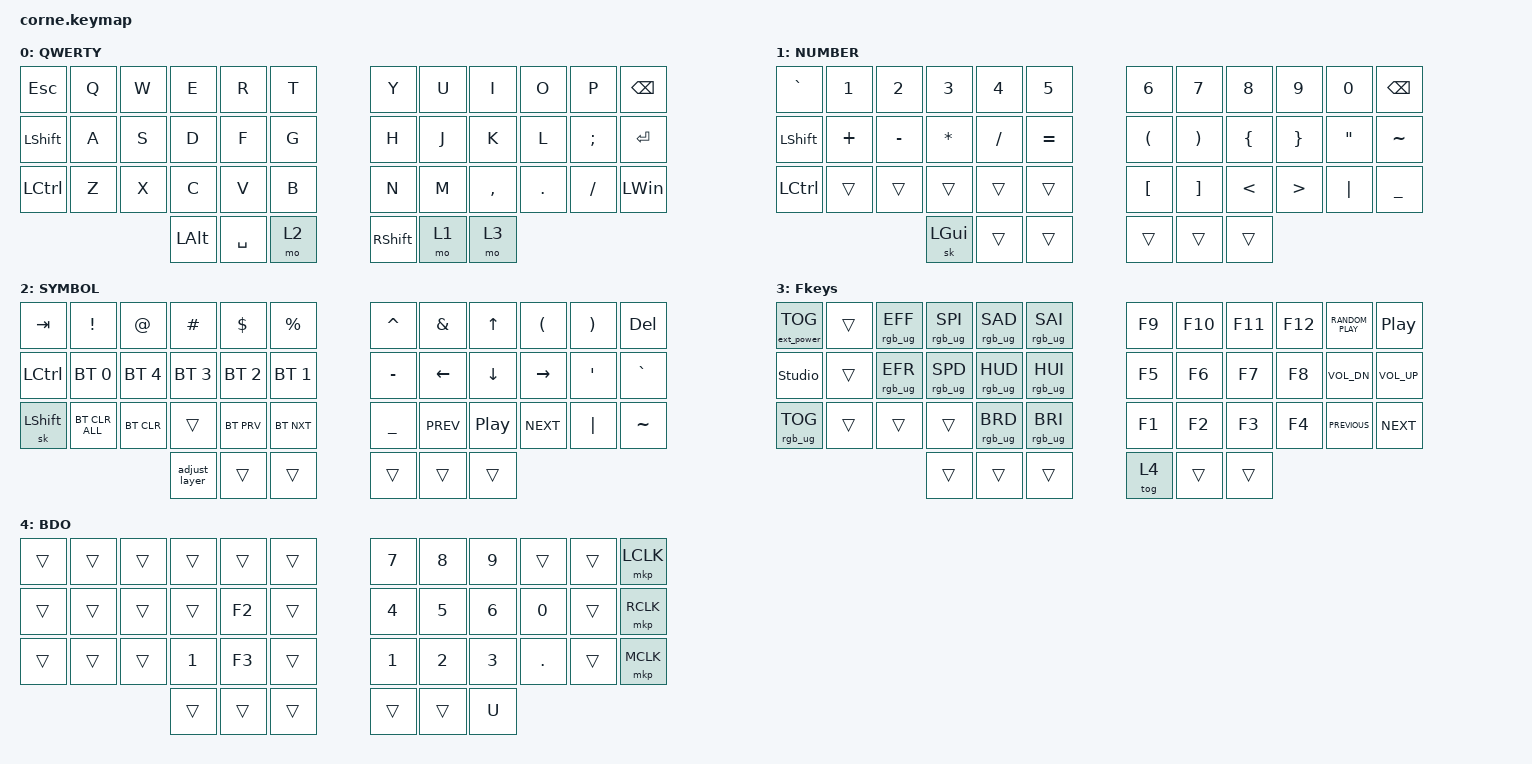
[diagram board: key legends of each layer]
#include <dt-bindings/zmk/mouse.h>
#include <behaviors.dtsi>
#include <dt-bindings/zmk/bt.h>
#include <dt-bindings/zmk/ext_power.h>
#include <dt-bindings/zmk/keys.h>
#include <dt-bindings/zmk/pointing.h>
#include <dt-bindings/zmk/rgb.h>

/ {
    macros {
        lower_layer: lower_layer {
            compatible = "zmk,behavior-macro";
            #binding-cells = <0>;
            bindings =
                <&macro_press>,
                <&mo 1>,
                <&macro_tap>,
                <&rgb_ug RGB_ON &rgb_ug RGB_COLOR_HSB(0,0,8)>,
                <&macro_pause_for_release>,
                <&macro_release>,
                <&mo 1>,
                <&macro_tap>,
                <&rgb_ug RGB_OFF>;

            label = "LOWER_LAYER";
        };

        raise_layer: raise_layer {
            compatible = "zmk,behavior-macro";
            #binding-cells = <0>;
            bindings =
                <&macro_press>,
                <&mo 2>,
                <&macro_tap>,
                <&rgb_ug RGB_ON &rgb_ug RGB_COLOR_HSB(0,71,8)>,
                <&macro_pause_for_release>,
                <&macro_release>,
                <&mo 2>,
                <&macro_tap>,
                <&rgb_ug RGB_OFF>;

            label = "RAISE_LAYER";
        };

        adjust_layer: adjust_layer {
            compatible = "zmk,behavior-macro";
            #binding-cells = <0>;
            bindings =
                <&macro_press>,
                <&mo 3>,
                <&macro_tap>,
                <&rgb_ug RGB_ON &rgb_ug RGB_COLOR_HSB(125,84,8)>,
                <&macro_pause_for_release>,
                <&macro_release>,
                <&mo 3>,
                <&macro_tap>,
                <&rgb_ug RGB_OFF>;

            label = "ADJUST_LAYER";
        };

        BDO: BDO {
            compatible = "zmk,behavior-macro";
            #binding-cells = <0>;
            bindings =
                <&macro_press>,
                <&tog 4 &rgb_ug RGB_ON &rgb_ug RGB_COLOR_HSB(37,100,50)>,
                <&macro_pause_for_release>,
                <&macro_release>,
                <&rgb_ug RGB_OFF &mo 4>;

            label = "BDO";
        };
    };

    keymap {
        compatible = "zmk,keymap";

        default_layer {
            label = "QWERTY";

            // -----------------------------------------------------------------------------------------
            // |  TAB |  Q  |  W  |  E  |  R  |  T  |   |  Y  |  U   |  I  |  O  |  P  | BKSP |
            // | CTRL |  A  |  S  |  D  |  F  |  G  |   |  H  |  J   |  K  |  L  |  ;  |  '   |
            // | SHFT |  Z  |  X  |  C  |  V  |  B  |   |  N  |  M   |  ,  |  .  |  /  | ESC  |
            //                    | GUI | LWR | SPC |   | ENT | RSE  | ALT |

            bindings = <
&kp ESC         &kp Q  &kp W  &kp E         &kp R      &kp T    &kp Y       &kp U  &kp I      &kp O    &kp P     &kp BSPC
&kp LEFT_SHIFT  &kp A  &kp S  &kp D         &kp F      &kp G    &kp H       &kp J  &kp K      &kp L    &kp SEMI  &kp ENTER
&kp LCTRL       &kp Z  &kp X  &kp C         &kp V      &kp B    &kp N       &kp M  &kp COMMA  &kp DOT  &kp FSLH  &kp LEFT_WIN
                              &kp LEFT_ALT  &kp SPACE  &mo 2    &kp RSHIFT  &mo 1  &mo 3
            >;
        };

        lower_layer {
            label = "NUMBER";

            // -----------------------------------------------------------------------------------------
            // |  TAB |  1  |  2  |  3  |  4  |  5  |   |  6  |  7  |  8  |  9  |  0  | BKSP |
            // | BTCLR| BT1 | BT2 | BT3 | BT4 | BT5 |   | LFT | DWN |  UP | RGT |     |      |
            // | SHFT |     |     |     |     |     |   |     |     |     |     |     |      |
            //                    | GUI |     | SPC |   | ENT |     | ALT |

            bindings = <
&kp GRAVE       &kp N1    &kp N2     &kp N3        &kp N4     &kp N5       &kp N6                &kp N7                 &kp N8          &kp N9            &kp N0             &kp BSPC
&kp LEFT_SHIFT  &kp PLUS  &kp MINUS  &kp ASTERISK  &kp SLASH  &kp EQUAL    &kp LEFT_PARENTHESIS  &kp RIGHT_PARENTHESIS  &kp LEFT_BRACE  &kp RIGHT_BRACE   &kp DOUBLE_QUOTES  &kp TILDE
&kp LCTRL       &trans    &trans     &trans        &trans     &trans       &kp LEFT_BRACKET      &kp RIGHT_BRACKET      &kp LESS_THAN   &kp GREATER_THAN  &kp PIPE           &kp UNDERSCORE
                                     &sk LGUI      &trans     &trans       &trans                &trans                 &trans
            >;
        };

        raise_layer {
            label = "SYMBOL";

            // -----------------------------------------------------------------------------------------
            // |  TAB |  !  |  @  |  #  |  $  |  %  |   |  ^  |  &  |  *  |  (  |  )  | BKSP |
            // | CTRL |     |     |     |     |     |   |  -  |  =  |  [  |  ]  |  \  |  `   |
            // | SHFT |     |     |     |     |     |   |  _  |  +  |  {  |  }  | "|" |  ~   |
            //                    | GUI |     | SPC |   | ENT |     | ALT |

            bindings = <
&kp TAB    &kp EXCL        &kp AT        &kp HASH       &kp DLLR      &kp PRCNT       &kp CARET  &kp AMPS    &kp UP_ARROW    &kp LPAR    &kp RPAR          &kp DEL
&kp LCTRL  &bt BT_SEL 0    &bt BT_SEL 4  &bt BT_SEL 3   &bt BT_SEL 2  &bt BT_SEL 1    &kp MINUS  &kp LEFT    &kp DOWN_ARROW  &kp RIGHT   &kp SINGLE_QUOTE  &kp GRAVE
&sk LSHFT  &bt BT_CLR_ALL  &bt BT_CLR    &trans         &bt BT_PRV    &bt BT_NXT      &kp UNDER  &kp C_PREV  &kp C_PP        &kp C_NEXT  &kp PIPE          &kp TILDE
                                         &adjust_layer  &trans        &trans          &trans     &trans      &trans
            >;
        };

        adjust_layer {
            label = "Fkeys";
            bindings = <
&ext_power EP_TOG  &trans  &rgb_ug RGB_EFF  &rgb_ug RGB_SPI  &rgb_ug RGB_SAD  &rgb_ug RGB_SAI    &kp F9  &kp F10  &kp F11  &kp F12  &kp C_RANDOM_PLAY  &kp C_PLAY_PAUSE
&studio_unlock     &trans  &rgb_ug RGB_EFR  &rgb_ug RGB_SPD  &rgb_ug RGB_HUD  &rgb_ug RGB_HUI    &kp F5  &kp F6   &kp F7   &kp F8   &kp C_VOL_DN       &kp C_VOLUME_UP
&rgb_ug RGB_TOG    &trans  &trans           &trans           &rgb_ug RGB_BRD  &rgb_ug RGB_BRI    &kp F1  &kp F2   &kp F3   &kp F4   &kp C_PREVIOUS     &kp C_NEXT
                                            &trans           &trans           &trans             &tog 4  &trans   &trans
            >;
        };

        BDO {
            bindings = <
&trans  &trans  &trans  &trans        &trans  &trans    &kp N7        &kp NUMBER_8  &kp N9        &trans        &trans  &mkp LCLK
&trans  &trans  &trans  &trans        &kp F2  &trans    &kp NUMBER_4  &kp N5        &kp NUMBER_6  &kp NUMBER_0  &trans  &mkp RCLK
&trans  &trans  &trans  &kp NUMBER_1  &kp F3  &trans    &kp NUMBER_1  &kp NUMBER_2  &kp NUMBER_3  &kp PERIOD    &trans  &mkp MCLK
                        &trans        &trans  &trans    &trans        &trans        &kp U
            >;
        };
    };

    conditional_layers { compatible = "zmk,conditional-layers"; };
};
